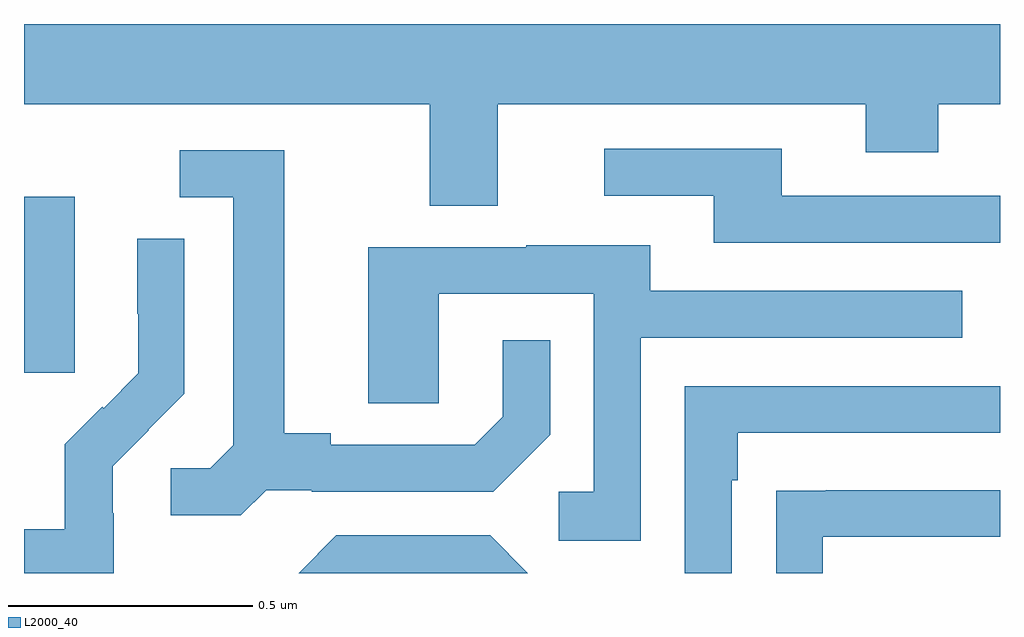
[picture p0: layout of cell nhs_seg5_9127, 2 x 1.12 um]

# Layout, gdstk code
import gdstk
lib = gdstk.Library(unit=1e-6, precision=1e-09)
def R(c, l, rs):  # rectangles x0, y0, x1, y1
    for r in rs: c.add(gdstk.rectangle(r[:2], r[2:], *l))
def P(c, l, *ps):  # polygons
    for p in ps: c.add(gdstk.Polygon(p, *l))
L2000_40 = (2000, 40)

nhs_seg5_9127 = lib.new_cell('nhs_seg5_9127')
R(nhs_seg5_9127, L2000_40, [(230,856.209,230.104,856.57)])
P(nhs_seg5_9127, L2000_40, [(230.971,856.76),(231.725,856.76),(231.725,856.661),(231.873,856.661),(231.873,856.76),(232,856.76),(232,856.924),(230,856.924),(230,856.76),(230.831,856.76),(230.831,856.552),(230.971,856.552)],
  [(232,856.572),(231.553,856.572),(231.553,856.668),(231.189,856.668),(231.189,856.572),(231.413,856.572),(231.413,856.476),(232,856.476)],
  [(230.496,855.969),(230.59,855.969),(230.59,855.966),(230.962,855.966),(231.078,856.082),(231.078,856.276),(230.981,856.276),(230.981,856.119),(230.924,856.062),(230.629,856.062),(230.629,856.085),(230.533,856.085),(230.533,856.665),(230.319,856.665),(230.319,856.569),(230.429,856.569),(230.429,856.061),(230.382,856.014),(230.301,856.014),(230.301,855.917),(230.444,855.917)],
  [(230.184,855.921),(230.182,855.921),(230.182,856.018),(230.256,856.092),(230.255,856.093),(230.328,856.166),(230.328,856.484),(230.232,856.484),(230.232,856.33),(230.234,856.33),(230.234,856.208),(230.163,856.137),(230.16,856.14),(230.083,856.063),(230.083,855.889),(230,855.889),(230,855.799),(230.184,855.799)],
  [(231.264,856.281),(231.923,856.281),(231.923,856.377),(231.283,856.377),(231.283,856.471),(231.029,856.471),(231.029,856.467),(230.705,856.467),(230.705,856.147),(230.85,856.147),(230.85,856.371),(231.168,856.371),(231.168,855.966),(231.096,855.966),(231.096,855.865),(231.264,855.865)],
  [(231.45,855.989),(231.463,855.989),(231.463,856.086),(232,856.086),(232,856.182),(231.354,856.182),(231.354,855.799),(231.45,855.799)],
  [(231.637,855.873),(232,855.873),(232,855.969),(231.643,855.969),(231.643,855.968),(231.541,855.968),(231.541,855.799),(231.637,855.799)],
  [(230.955,855.876),(230.64,855.876),(230.563,855.799),(231.032,855.799)])

lib.write_gds('nhs_seg5_9127.gds')
